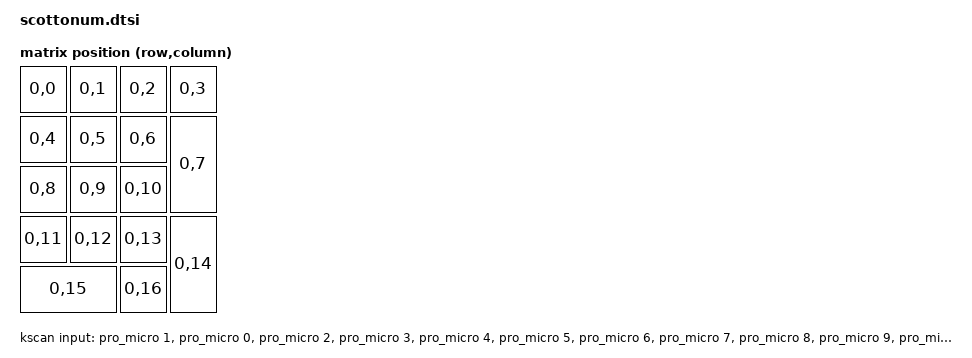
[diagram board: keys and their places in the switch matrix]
#include <physical_layouts.dtsi>
#include <dt-bindings/zmk/matrix_transform.h>

/ {
    chosen {
        zmk,physical-layout = &layout;
    };

    transform: transform {
        compatible = "zmk,matrix-transform";
        rows = <1>;
        columns = <17>;

        map = <
            RC(0,0)  RC(0,1)  RC(0,2)  RC(0,3)
            RC(0,4)  RC(0,5)  RC(0,6)  RC(0,7)
            RC(0,8)  RC(0,9)  RC(0,10)
            RC(0,11) RC(0,12) RC(0,13) RC(0,14)
            RC(0,15) RC(0,16)
        >;
    };
    
    layout: layout {
        compatible = "zmk,physical-layout";
        display-name = "Numpad";

        kscan = <&kscan>;
        transform = <&transform>;

        keys  //                     w   h    x    y     rot    rx    ry
            = <&key_physical_attrs 100 100    0    0       0     0     0>
            , <&key_physical_attrs 100 100  100    0       0     0     0>
            , <&key_physical_attrs 100 100  200    0       0     0     0>
            , <&key_physical_attrs 100 100  300    0       0     0     0>
            , <&key_physical_attrs 100 100    0  100       0     0     0>
            , <&key_physical_attrs 100 100  100  100       0     0     0>
            , <&key_physical_attrs 100 100  200  100       0     0     0>
            , <&key_physical_attrs 100 200  300  100       0     0     0>
            , <&key_physical_attrs 100 100    0  200       0     0     0>
            , <&key_physical_attrs 100 100  100  200       0     0     0>
            , <&key_physical_attrs 100 100  200  200       0     0     0>
            , <&key_physical_attrs 100 100    0  300       0     0     0>
            , <&key_physical_attrs 100 100  100  300       0     0     0>
            , <&key_physical_attrs 100 100  200  300       0     0     0>
            , <&key_physical_attrs 100 200  300  300       0     0     0>
            , <&key_physical_attrs 200 100    0  400       0     0     0>
            , <&key_physical_attrs 100 100  200  400       0     0     0>
            ;
    };

    kscan: kscan {
        compatible = "zmk,kscan-gpio-direct";
        label = "KSCAN";
        input-gpios = 
            <&pro_micro 1 (GPIO_ACTIVE_LOW | GPIO_PULL_UP)>,
            <&pro_micro 0 (GPIO_ACTIVE_LOW | GPIO_PULL_UP)>,
            <&pro_micro 2 (GPIO_ACTIVE_LOW | GPIO_PULL_UP)>,
            <&pro_micro 3 (GPIO_ACTIVE_LOW | GPIO_PULL_UP)>,

            <&pro_micro 4 (GPIO_ACTIVE_LOW | GPIO_PULL_UP)>,
            <&pro_micro 5 (GPIO_ACTIVE_LOW | GPIO_PULL_UP)>,
            <&pro_micro 6 (GPIO_ACTIVE_LOW | GPIO_PULL_UP)>,
            <&pro_micro 7 (GPIO_ACTIVE_LOW | GPIO_PULL_UP)>,

            <&pro_micro 8 (GPIO_ACTIVE_LOW | GPIO_PULL_UP)>,
            <&pro_micro 9 (GPIO_ACTIVE_LOW | GPIO_PULL_UP)>,
            <&pro_micro 21 (GPIO_ACTIVE_LOW | GPIO_PULL_UP)>,

            <&pro_micro 20 (GPIO_ACTIVE_LOW | GPIO_PULL_UP)>,
            <&pro_micro 19 (GPIO_ACTIVE_LOW | GPIO_PULL_UP)>,
            <&pro_micro 18 (GPIO_ACTIVE_LOW | GPIO_PULL_UP)>,
            <&pro_micro 15 (GPIO_ACTIVE_LOW | GPIO_PULL_UP)>,

            <&pro_micro 14 (GPIO_ACTIVE_LOW | GPIO_PULL_UP)>,
            <&pro_micro 16 (GPIO_ACTIVE_LOW | GPIO_PULL_UP)>;
    };
};
